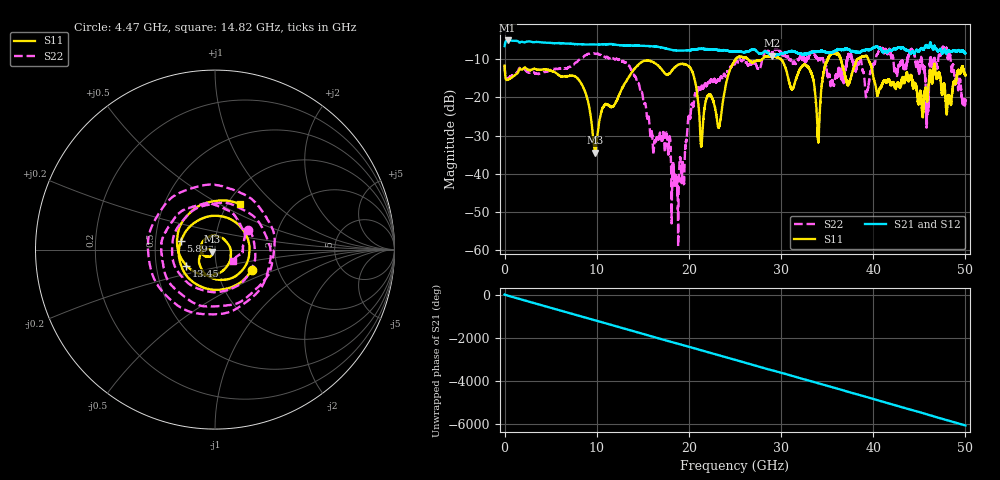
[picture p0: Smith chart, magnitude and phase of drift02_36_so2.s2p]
!Created with skrf (http://scikit-rf.org).
# Hz S RI R 50.0
!freq ReS11 ImS11 ReS21 ImS21 ReS12 ImS12 ReS22 ImS22
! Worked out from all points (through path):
!   10001 points, 300 kHz to 50 GHz, reference 50 ohm
!   highest |S21| = -5.04 dB at 325.3 MHz (marker M1); lowest = -9.0 dB at 29.05 GHz (marker M2)
!   group delay of S21, straight-line fit = 336 ps
!   lowest |S11| = -34.5 dB at 9.84 GHz (marker M3), VSWR 1.04, Z = 48.5 - j1.06 ohm
!   |S11| at or under -10 dB: start of sweep to 25.07 GHz; 29.97 GHz to 35.05 GHz (5.081 GHz wide, 15.6 % of centre); 39.47 GHz to end of sweep (the widest 3 of 5)
!   |S22| runs from -59.0 to -6.6 dB; largest |S21 - S12| = 0.022
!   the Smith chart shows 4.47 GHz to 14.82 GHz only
!   S11 on the Smith chart (normalised r, x): 4.47 GHz: 1.46, -0.35; 5.89 GHz: 0.68, +0.07; 13.45 GHz: 0.71, -0.13; 14.82 GHz: 1.13, +0.63
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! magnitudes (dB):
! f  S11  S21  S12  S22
! 300 kHz  -11.7  -6.5  -6.4  -11.6
! 325.3 MHz  -15.4  -5.0  -5.0  -15.0
! 4.47 GHz  -12.6  -5.6  -5.6  -13.2
! 5.89 GHz  -14.2  -5.7  -5.7  -12.5
! 8.335 GHz  -16.4  -6.0  -6.0  -9.6
! 9.84 GHz  -34.5  -6.1  -6.1  -8.6
! 13.45 GHz  -14.8  -6.4  -6.4  -11.6
! 14.82 GHz  -10.8  -6.4  -6.4  -18.5
! 16.67 GHz  -11.6  -6.7  -6.7  -30.8
! 18.67 GHz  -11.7  -7.7  -7.7  -42.1
! 20.37 GHz  -13.3  -7.5  -7.5  -21.8
! 21.37 GHz  -32.1  -7.2  -7.2  -16.9
! 23.31 GHz  -27.4  -7.5  -7.6  -15.6
! 25 GHz  -10.3  -8.0  -8.0  -11.1
! 29.05 GHz  -9.1  -9.0  -9.0  -8.2
! 33.34 GHz  -14.0  -8.1  -8.1  -8.1
! 34.02 GHz  -30.7  -7.9  -8.0  -10.3
! 35.5 GHz  -8.5  -8.2  -8.1  -15.5
! 41.67 GHz  -15.4  -7.7  -7.7  -7.7
! 45.86 GHz  -20.9  -6.7  -6.7  -20.1
! 47.77 GHz  -17.7  -7.6  -7.6  -7.6
! 50 GHz  -14.2  -8.4  -8.4  -21.2
